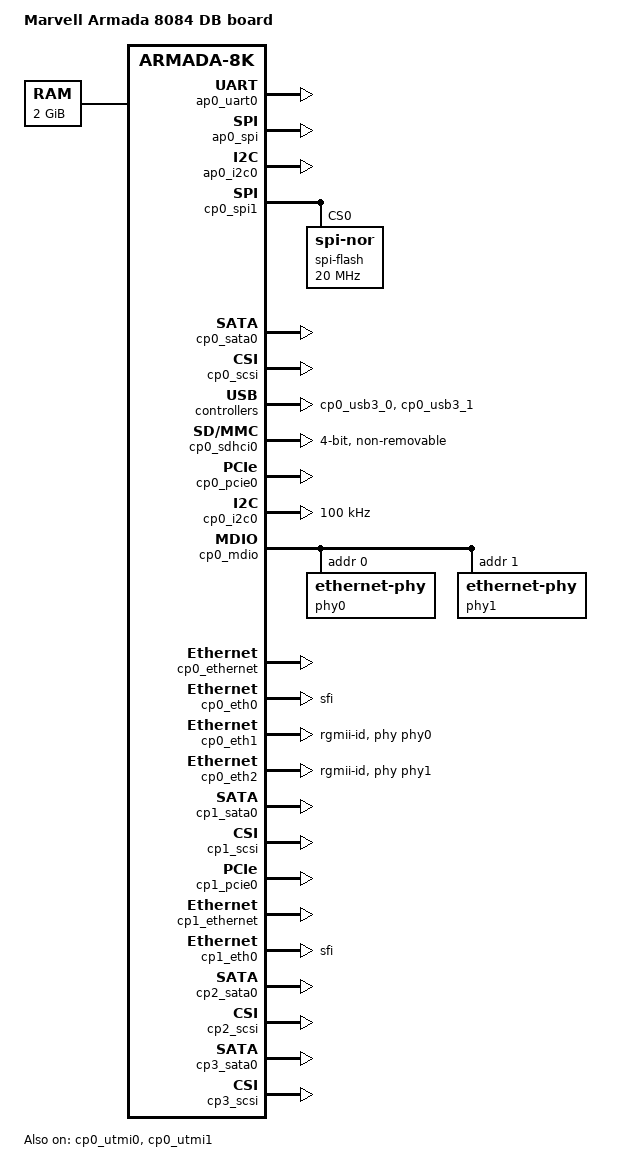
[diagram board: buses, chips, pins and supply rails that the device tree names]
/*
 * Copyright (C) 2018 Marvell International Ltd.
 *
 * SPDX-License-Identifier:    GPL-2.0
 * https://spdx.org/licenses
 */

/*
 * Device Tree file for Marvell Armada 8084 Development board platform
 */

#include "armada-8084-db.dtsi"

/ {
	model = "Marvell Armada 8084 DB board";
	compatible = "marvell,armada8084-db", "marvell,armada8084",
		     "marvell,armada-ap810", "marvell,armada-8k-plus";

	chosen {
		stdout-path = "serial0:115200n8";
	};

	aliases {
		spi0 = &ap0_spi;
		i2c0 = &ap0_i2c0;
	};

	memory@00000000 {
		device_type = "memory";
		reg = <0x0 0x0 0x0 0x80000000>;
	};
};

&ap0_uart0 {
	status = "okay";
};

&ap0_spi {
	status = "okay";
};

&ap0_i2c0 {
	status = "okay";
};

&ap0_pinctl {
	/* MPP Bus:
	 * SPI	[6-10]
	 * UART	[11,20]
	 * I2C	[18-10]
	 */
		  /* 0 1 2 3 4 5 6 7 8 9 */
	pin-func = < 0 0 0 0 0 0 2 2 2 2
		     2 3 2 3 3 0 0 0 3 3
		     3>;
};

&cp0_pinctl {
		/* MPP Bus:
		 * RGMII0 [0-11]
		 * SPI1   [13-16]
		 * SATA1  [28]
		 * UART0  [29-30]
		 * SMI	  [32,34]
		 * XMDIO   [35-36]
		 * I2C0   [37-38]
		 * UART1  [40-41]
		 * RGMII1 [44-55]
		 * UART0  [50-51]
		 * SD	  [56-61]
		 * GPIO   [62]
		 */
		/*   0   1   2   3   4   5   6   7   8   9 */
	pin-func = < 3   3   3   3   3   3   3   3   3   3
		     3   3   0   3   3   3   3   0   0   0
		     0   0   0   0   0   0   0   0   9   0xA
		     0xA 0   7   0   7   5   5   2   2   0
		     7   7   0   0   1   1   1   1   1   1
		     1   1   1   1   1   1   0xE 0xE 0xE 0xE
		     0xE 0xE 0>;
};

&cp0_comphy {
	phy0 {
		phy-type = <COMPHY_TYPE_PEX0>;
		phy-speed = <COMPHY_SPEED_5G>;
	};
	phy1 {
		phy-type = <COMPHY_TYPE_PEX0>;
		phy-speed = <COMPHY_SPEED_5G>;
	};
	phy2 {
		phy-type = <COMPHY_TYPE_PEX0>;
		phy-speed = <COMPHY_SPEED_5G>;
	};
	phy3 {
		phy-type = <COMPHY_TYPE_PEX0>;
		phy-speed = <COMPHY_SPEED_5G>;
	};
	phy4 {
		phy-type = <COMPHY_TYPE_SFI>;
		phy-speed = <COMPHY_SPEED_10_3125G>;
	};
	phy5 {
		phy-type = <COMPHY_TYPE_SATA1>;
		phy-speed = <COMPHY_SPEED_5G>;
	};
};

&cp0_spi1 {
	pinctrl-names = "default";
	status = "okay";

	spi-flash@0 {
		#address-cells = <0x1>;
		#size-cells = <0x1>;
		compatible = "jedec,spi-nor";
		reg = <0x0>;
		spi-max-frequency = <20000000>;
	};
};

&cp0_sata0 {
	status = "okay";
};

&cp0_scsi {
	status = "okay";
};

&cp0_utmi0 {
	status = "okay";
};

&cp0_utmi1 {
	status = "okay";
};

&cp0_usb3_0 {
	status = "okay";
};

&cp0_usb3_1 {
	status = "okay";
};

&cp0_sdhci0 {
	status = "okay";
	bus-width = <4>;
	no-1-8-v;
	non-removable;
};

&cp0_pcie0 {
	status = "okay";
};

&cp0_i2c0 {
	pinctrl-names = "default";
	status = "okay";
	clock-frequency = <100000>;
};


&cp0_mdio {
	status = "okay";
        phy0: ethernet-phy@0 {
                reg = <0>;
        };
	phy1: ethernet-phy@1 {
                reg = <1>;
        };
};

&cp0_ethernet {
        status = "okay";
};

&cp0_eth0 {
        status = "okay";
        phy-mode = "sfi"; /* lane-2 */
};

&cp0_eth1 {
        status = "okay";
        phy = <&phy0>;
        phy-mode = "rgmii-id";
};

&cp0_eth2 {
        status = "okay";
        phy = <&phy1>;
        phy-mode = "rgmii-id";
};

&cp1_comphy {
	phy0 {
		phy-type = <COMPHY_TYPE_PEX0>;
		phy-speed = <COMPHY_SPEED_5G>;
	};
	phy1 {
		phy-type = <COMPHY_TYPE_PEX0>;
		phy-speed = <COMPHY_SPEED_5G>;
	};
	phy2 {
		phy-type = <COMPHY_TYPE_PEX0>;
		phy-speed = <COMPHY_SPEED_5G>;
	};
	phy3 {
		phy-type = <COMPHY_TYPE_PEX0>;
		phy-speed = <COMPHY_SPEED_5G>;
	};
	phy4 {
		phy-type = <COMPHY_TYPE_SFI>;
		phy-speed = <COMPHY_SPEED_10_3125G>;
	};
	phy5 {
		phy-type = <COMPHY_TYPE_SATA1>;
		phy-speed = <COMPHY_SPEED_5G>;
	};
};

&cp1_pinctl {
		/* MPP Bus:
		 * SPI1   [13-16]
		 * I2C0   [37-38]
		 */
		/*   0   1   2   3   4   5   6   7   8   9 */
	pin-func = < 0   0   0   0   0   0   0   0   0   0
		     0   0   0   3   3   3   3   0   0   0
		     0   0   0   0   0   0   0   0   0   0
		     0   0   0   0   0   0   0   2   2   0
		     0   0   0   0   0   0   0   0   0   0
		     0   0   0   0   0   0   0   0   0   0
		     0   0   0>;
};

&cp1_sata0 {
	status = "okay";
};

&cp1_scsi {
	status = "okay";
};

&cp1_pcie0 {
	status = "okay";
};

&cp1_ethernet {
	status = "okay";
};

&cp1_eth0 {
	status = "okay";
	phy-mode = "sfi"; /* lane-2 */
};

&cp2_comphy {
	phy0 {
		phy-type = <COMPHY_TYPE_UNCONNECTED>;
	};
	phy1 {
		phy-type = <COMPHY_TYPE_SATA0>;
		phy-speed = <COMPHY_SPEED_5G>;
	};
	phy2 {
		phy-type = <COMPHY_TYPE_UNCONNECTED>;
	};
	phy3 {
		phy-type = <COMPHY_TYPE_UNCONNECTED>;
	};
	phy4 {
		phy-type = <COMPHY_TYPE_SFI>;
		phy-speed = <COMPHY_SPEED_10_3125G>;
	};
	phy5 {
		phy-type = <COMPHY_TYPE_SATA1>;
		phy-speed = <COMPHY_SPEED_5G>;
	};
};

&cp2_pinctl {
		/* MPP Bus:
		 * SPI1   [13-16]
		 * I2C0   [37-38]
		 */
		/*   0   1   2   3   4   5   6   7   8   9 */
	pin-func = < 0   0   0   0   0   0   0   0   0   0
		     0   0   0   3   3   3   3   0   0   0
		     0   0   0   0   0   0   0   0   0   0
		     0   0   0   0   0   0   0   2   2   0
		     0   0   0   0   0   0   0   0   0   0
		     0   0   0   0   0   0   0   0   0   0
		     0   0   0>;
};

&cp2_sata0 {
	status = "okay";
};

&cp2_scsi {
	status = "okay";
};

&cp2_ethernet {
	status = "disabled";
};

&cp2_eth0 {
	status = "disabled";
	phy-mode = "sfi"; /* lane-2 */
};

&cp3_comphy {
	phy0 {
		phy-type = <COMPHY_TYPE_UNCONNECTED>;
	};
	phy1 {
		phy-type = <COMPHY_TYPE_SATA0>;
		phy-speed = <COMPHY_SPEED_5G>;
	};
	phy2 {
		phy-type = <COMPHY_TYPE_UNCONNECTED>;
	};
	phy3 {
		phy-type = <COMPHY_TYPE_UNCONNECTED>;
	};
	phy4 {
		phy-type = <COMPHY_TYPE_SFI>;
		phy-speed = <COMPHY_SPEED_10_3125G>;
	};
	phy5 {
		phy-type = <COMPHY_TYPE_SATA1>;
		phy-speed = <COMPHY_SPEED_5G>;
	};
};

&cp3_pinctl {
		/* MPP Bus:
		 * SPI1   [13-16]
		 * I2C0   [37-38]
		 */
		/*   0   1   2   3   4   5   6   7   8   9 */
	pin-func = < 0   0   0   0   0   0   0   0   0   0
		     0   0   0   3   3   3   3   0   0   0
		     0   0   0   0   0   0   0   0   0   0
		     0   0   0   0   0   0   0   2   2   0
		     0   0   0   0   0   0   0   0   0   0
		     0   0   0   0   0   0   0   0   0   0
		     0   0   0>;
};

&cp3_sata0 {
	status = "okay";
};

&cp3_scsi {
	status = "okay";
};

&cp3_ethernet {
	status = "disabled";
};

&cp3_eth0 {
	status = "disabled";
	phy-mode = "sfi"; /* lane-2 */
};

